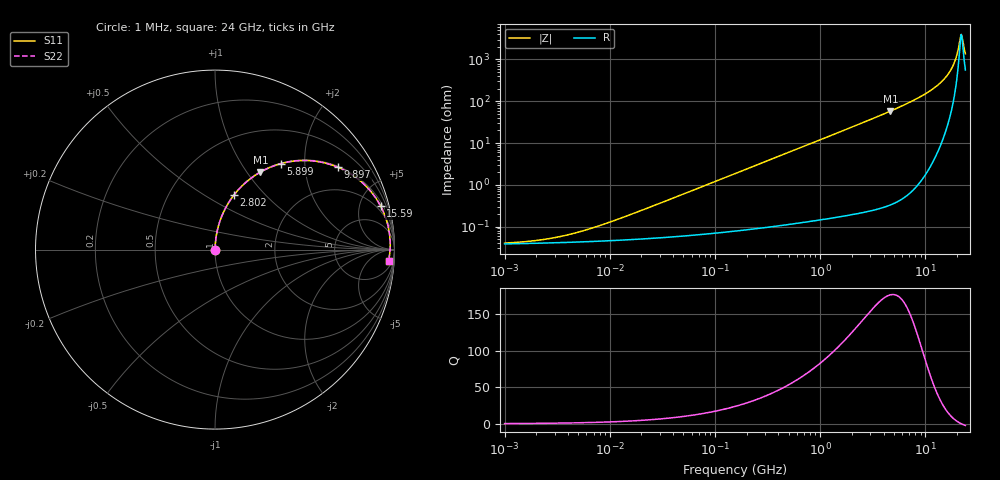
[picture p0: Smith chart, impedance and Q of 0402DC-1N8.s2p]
# MHz  S  MA  R  50
!Freq  MagS11  AngS11  MagS21  AngS21  MagS12  AngS12  MagS22  AngS22
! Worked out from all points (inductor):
!   801 points, 1 MHz to 24 GHz, reference 50 ohm
!   read as one part in series: L = 1.9 nH near 11.86 MHz
!   highest Q = 176 at 4.642 GHz (marker M1), where L = 1.99 nH
!   self-resonance near 21.92 GHz
!   S11 on the Smith chart (normalised r, x): 1 MHz: 1.00, +0.00; 2.802 GHz: 1.00, +0.68; 5.899 GHz: 1.01, +1.52; 9.897 GHz: 1.03, +2.97; 15.59 GHz: 1.38, +7.48; 24 GHz: 12, -25
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1  0.0004024 17.2  0.9996 -0.0  0.9996 -0.0  0.0004024 17.2
2.449839  0.0004984 35.9  0.9996 -0.0  0.9996 -0.0  0.0004984 35.9
5.42536  0.0007772 56.4  0.9996 -0.0  0.9996 -0.0  0.0007772 56.4
29.0654  0.003509 81.0  0.9995 -0.2  0.9995 -0.2  0.003509 81.0
155.7127  0.01859 86.5  0.999 -1.1  0.999 -1.1  0.01859 86.5
834.2029  0.09912 83.5  0.9937 -5.7  0.9937 -5.7  0.09912 83.5
1691.208  0.1987 78.0  0.9783 -11.5  0.9783 -11.5  0.1987 78.0
2801.751  0.3213 70.9  0.9448 -18.7  0.9448 -18.7  0.3213 70.9
4469.094  0.4852 60.6  0.8717 -29.0  0.8717 -29.0  0.4852 60.6
4641.538  0.5005 59.6  0.8629 -30.0  0.8629 -30.0  0.5005 59.6
5899.256  0.6029 52.6  0.7943 -37.1  0.7943 -37.1  0.6029 52.6
7787.088  0.7259 43.0  0.6825 -46.5  0.6825 -46.5  0.7259 43.0
9897.157  0.8248 33.8  0.5562 -55.6  0.5562 -55.6  0.8248 33.8
12738.75  0.909 23.4  0.3966 -65.3  0.3966 -65.3  0.909 23.4
15589.05  0.9541 14.7  0.2547 -72.3  0.2547 -72.3  0.9541 14.7
17245.12  0.9679 10.4  0.1811 -74.6  0.1811 -74.6  0.9679 10.4
18601.63  0.9742 7.1  0.1255 -74.6  0.1255 -74.6  0.9742 7.1
19564.75  0.9764 5.0  0.08889 -72.1  0.08889 -72.1  0.9764 5.0
21103.72  0.9767 1.7  0.03793 -51.3  0.03793 -51.3  0.9767 1.7
21643.16  0.976 0.7  0.02656 -25.1  0.02656 -25.1  0.976 0.7
22478.28  0.9742 -0.9  0.03046 31.7  0.03046 31.7  0.9742 -0.9
24000  0.969 -3.7  0.07074 62.2  0.07074 62.2  0.969 -3.7
